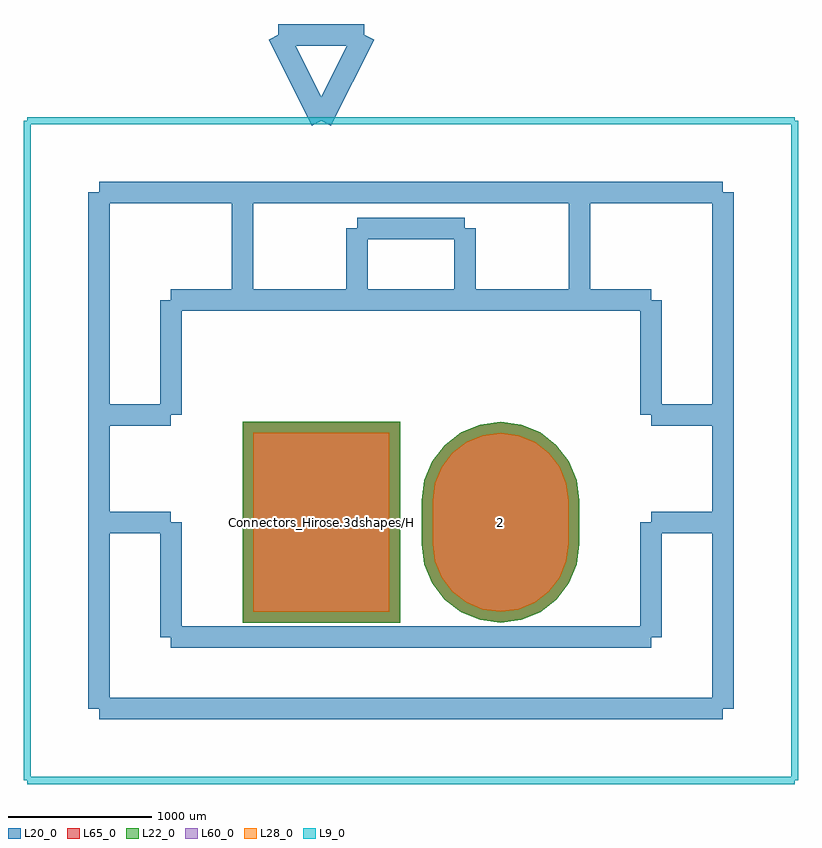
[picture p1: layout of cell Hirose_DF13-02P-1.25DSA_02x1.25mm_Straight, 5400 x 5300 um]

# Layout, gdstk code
import gdstk
lib = gdstk.Library(unit=1e-6, precision=1e-09)
def R(c, l, rs):  # rectangles x0, y0, x1, y1
    for r in rs: c.add(gdstk.rectangle(r[:2], r[2:], *l))
def P(c, l, *ps):  # polygons
    for p in ps: c.add(gdstk.Polygon(p, *l))
L9_0 = (9, 0)
L20_0 = (20, 0)
L22_0 = (22, 0)
L28_0 = (28, 0)
L60_0 = (60, 0)
L65_0 = (65, 0)

hirose_df13_02p_1_25dsa_ = lib.new_cell('Hirose_DF13-02P-1.25DSA_02x1.25mm_Straight')
R(hirose_df13_02p_1_25dsa_, L22_0, [(-550,-700,550,700)])
P(hirose_df13_02p_1_25dsa_, L22_0, [(1250,-700),(1392.35,-681.259),(1525,-626.314),(1638.909,-538.909),(1726.314,-425),(1781.259,-292.35),(1800,-150),(1800,150),(1781.259,292.35),(1726.314,425),(1638.909,538.909),(1525,626.314),(1392.35,681.259),(1250,700),(1107.65,681.259),(975,626.314),(861.091,538.909),(773.686,425),(718.741,292.35),(700,150),(700,-150),(718.741,-292.35),(773.686,-425),(861.091,-538.909),(975,-626.314),(1107.65,-681.259)])
R(hirose_df13_02p_1_25dsa_, L28_0, [(-475,-625,475,625)])
P(hirose_df13_02p_1_25dsa_, L28_0, [(1250,-625),(1372.939,-608.815),(1487.5,-561.362),(1585.876,-485.876),(1661.362,-387.5),(1708.815,-272.939),(1725,-150),(1725,150),(1708.815,272.939),(1661.362,387.5),(1585.876,485.876),(1487.5,561.362),(1372.939,608.815),(1250,625),(1127.061,608.815),(1012.5,561.362),(914.124,485.876),(838.638,387.5),(791.185,272.939),(775,150),(775,-150),(791.185,-272.939),(838.638,-387.5),(914.124,-485.876),(1012.5,-561.362),(1127.061,-608.815)])
R(hirose_df13_02p_1_25dsa_, L60_0, [(-475,-625,475,625)])
P(hirose_df13_02p_1_25dsa_, L60_0, [(1250,-625),(1372.939,-608.815),(1487.5,-561.362),(1585.876,-485.876),(1661.362,-387.5),(1708.815,-272.939),(1725,-150),(1725,150),(1708.815,272.939),(1661.362,387.5),(1585.876,485.876),(1487.5,561.362),(1372.939,608.815),(1250,625),(1127.061,608.815),(1012.5,561.362),(914.124,485.876),(838.638,387.5),(791.185,272.939),(775,150),(775,-150),(791.185,-272.939),(838.638,-387.5),(914.124,-485.876),(1012.5,-561.362),(1127.061,-608.815)])
R(hirose_df13_02p_1_25dsa_, L65_0, [(-550,-700,550,700)])
P(hirose_df13_02p_1_25dsa_, L65_0, [(1250,-700),(1392.35,-681.259),(1525,-626.314),(1638.909,-538.909),(1726.314,-425),(1781.259,-292.35),(1800,-150),(1800,150),(1781.259,292.35),(1726.314,425),(1638.909,538.909),(1525,626.314),(1392.35,681.259),(1250,700),(1107.65,681.259),(975,626.314),(861.091,538.909),(773.686,425),(718.741,292.35),(700,150),(700,-150),(718.741,-292.35),(773.686,-425),(861.091,-538.909),(975,-626.314),(1107.65,-681.259)])
hirose_df13_02p_1_25dsa_.add(gdstk.FlexPath([(3300,2800),(-2050,2800)], 50, ends="flush", simple_path=True, layer=9, datatype=0))  # L9_0
hirose_df13_02p_1_25dsa_.add(gdstk.FlexPath([(3300,-1800),(3300,2800)], 50, ends="flush", simple_path=True, layer=9, datatype=0))  # L9_0
hirose_df13_02p_1_25dsa_.add(gdstk.FlexPath([(-2050,-1800),(3300,-1800)], 50, ends="flush", simple_path=True, layer=9, datatype=0))  # L9_0
hirose_df13_02p_1_25dsa_.add(gdstk.FlexPath([(-2050,2800),(-2050,-1800)], 50, ends="flush", simple_path=True, layer=9, datatype=0))  # L9_0
hirose_df13_02p_1_25dsa_.add(gdstk.FlexPath([(1000,1550),(1800,1550)], 149.998, ends="flush", simple_path=True, layer=20, datatype=0))  # L20_0
hirose_df13_02p_1_25dsa_.add(gdstk.FlexPath([(1000,2050),(1000,1550)], 149.998, ends="flush", simple_path=True, layer=20, datatype=0))  # L20_0
hirose_df13_02p_1_25dsa_.add(gdstk.FlexPath([(250,2050),(1000,2050)], 149.998, ends="flush", simple_path=True, layer=20, datatype=0))  # L20_0
hirose_df13_02p_1_25dsa_.add(gdstk.FlexPath([(250,1550),(250,2050)], 149.998, ends="flush", simple_path=True, layer=20, datatype=0))  # L20_0
hirose_df13_02p_1_25dsa_.add(gdstk.FlexPath([(1000,1550),(250,1550)], 149.998, ends="flush", simple_path=True, layer=20, datatype=0))  # L20_0
hirose_df13_02p_1_25dsa_.add(gdstk.FlexPath([(1000,2050),(1000,1550)], 149.998, ends="flush", simple_path=True, layer=20, datatype=0))  # L20_0
hirose_df13_02p_1_25dsa_.add(gdstk.FlexPath([(250,2050),(1000,2050)], 149.998, ends="flush", simple_path=True, layer=20, datatype=0))  # L20_0
hirose_df13_02p_1_25dsa_.add(gdstk.FlexPath([(250,1550),(250,2050)], 149.998, ends="flush", simple_path=True, layer=20, datatype=0))  # L20_0
hirose_df13_02p_1_25dsa_.add(gdstk.FlexPath([(-550,1550),(250,1550)], 149.998, ends="flush", simple_path=True, layer=20, datatype=0))  # L20_0
hirose_df13_02p_1_25dsa_.add(gdstk.FlexPath([(1800,1550),(1800,2300)], 149.998, ends="flush", simple_path=True, layer=20, datatype=0))  # L20_0
hirose_df13_02p_1_25dsa_.add(gdstk.FlexPath([(2300,1550),(1800,1550)], 149.998, ends="flush", simple_path=True, layer=20, datatype=0))  # L20_0
hirose_df13_02p_1_25dsa_.add(gdstk.FlexPath([(2300,750),(2300,1550)], 149.998, ends="flush", simple_path=True, layer=20, datatype=0))  # L20_0
hirose_df13_02p_1_25dsa_.add(gdstk.FlexPath([(2800,750),(2300,750)], 149.998, ends="flush", simple_path=True, layer=20, datatype=0))  # L20_0
hirose_df13_02p_1_25dsa_.add(gdstk.FlexPath([(-550,1550),(-550,2300)], 149.998, ends="flush", simple_path=True, layer=20, datatype=0))  # L20_0
hirose_df13_02p_1_25dsa_.add(gdstk.FlexPath([(-1050,1550),(-550,1550)], 149.998, ends="flush", simple_path=True, layer=20, datatype=0))  # L20_0
hirose_df13_02p_1_25dsa_.add(gdstk.FlexPath([(-1050,750),(-1050,1550)], 149.998, ends="flush", simple_path=True, layer=20, datatype=0))  # L20_0
hirose_df13_02p_1_25dsa_.add(gdstk.FlexPath([(-1550,750),(-1050,750)], 149.998, ends="flush", simple_path=True, layer=20, datatype=0))  # L20_0
hirose_df13_02p_1_25dsa_.add(gdstk.FlexPath([(2300,0),(2800,0)], 149.998, ends="flush", simple_path=True, layer=20, datatype=0))  # L20_0
hirose_df13_02p_1_25dsa_.add(gdstk.FlexPath([(2300,-800),(2300,0)], 149.998, ends="flush", simple_path=True, layer=20, datatype=0))  # L20_0
hirose_df13_02p_1_25dsa_.add(gdstk.FlexPath([(-1050,-800),(2300,-800)], 149.998, ends="flush", simple_path=True, layer=20, datatype=0))  # L20_0
hirose_df13_02p_1_25dsa_.add(gdstk.FlexPath([(-1050,0),(-1050,-800)], 149.998, ends="flush", simple_path=True, layer=20, datatype=0))  # L20_0
hirose_df13_02p_1_25dsa_.add(gdstk.FlexPath([(-1550,0),(-1050,0)], 149.998, ends="flush", simple_path=True, layer=20, datatype=0))  # L20_0
hirose_df13_02p_1_25dsa_.add(gdstk.FlexPath([(300,3400),(0,2800)], 149.998, ends="flush", simple_path=True, layer=20, datatype=0))  # L20_0
hirose_df13_02p_1_25dsa_.add(gdstk.FlexPath([(-300,3400),(300,3400)], 149.998, ends="flush", simple_path=True, layer=20, datatype=0))  # L20_0
hirose_df13_02p_1_25dsa_.add(gdstk.FlexPath([(0,2800),(-300,3400)], 149.998, ends="flush", simple_path=True, layer=20, datatype=0))  # L20_0
hirose_df13_02p_1_25dsa_.add(gdstk.FlexPath([(2800,2300),(-1550,2300)], 149.998, ends="flush", simple_path=True, layer=20, datatype=0))  # L20_0
hirose_df13_02p_1_25dsa_.add(gdstk.FlexPath([(2800,-1300),(2800,2300)], 149.998, ends="flush", simple_path=True, layer=20, datatype=0))  # L20_0
hirose_df13_02p_1_25dsa_.add(gdstk.FlexPath([(-1550,-1300),(2800,-1300)], 149.998, ends="flush", simple_path=True, layer=20, datatype=0))  # L20_0
hirose_df13_02p_1_25dsa_.add(gdstk.FlexPath([(-1550,2300),(-1550,-1300)], 149.998, ends="flush", simple_path=True, layer=20, datatype=0))  # L20_0
hirose_df13_02p_1_25dsa_.add(gdstk.Label('Connectors_Hirose.3dshapes/Hirose_DF13-02P-1.25DSA_02x1.25mm_Straight.wrl', (0,0), layer=12, texttype=0))
hirose_df13_02p_1_25dsa_.add(gdstk.Label('2', (1250,0), layer=28, texttype=0))
hirose_df13_02p_1_25dsa_.add(gdstk.Label('1', (0,0), layer=28, texttype=0))
hirose_df13_02p_1_25dsa_.add(gdstk.Label('type', (625,-2500), layer=9, texttype=0))
hirose_df13_02p_1_25dsa_.add(gdstk.Label('devicename', (625,4000), layer=9, texttype=0))

lib.write_gds('Hirose_DF13-02P-1.25DSA_02x1.25mm_Straight.gds')
